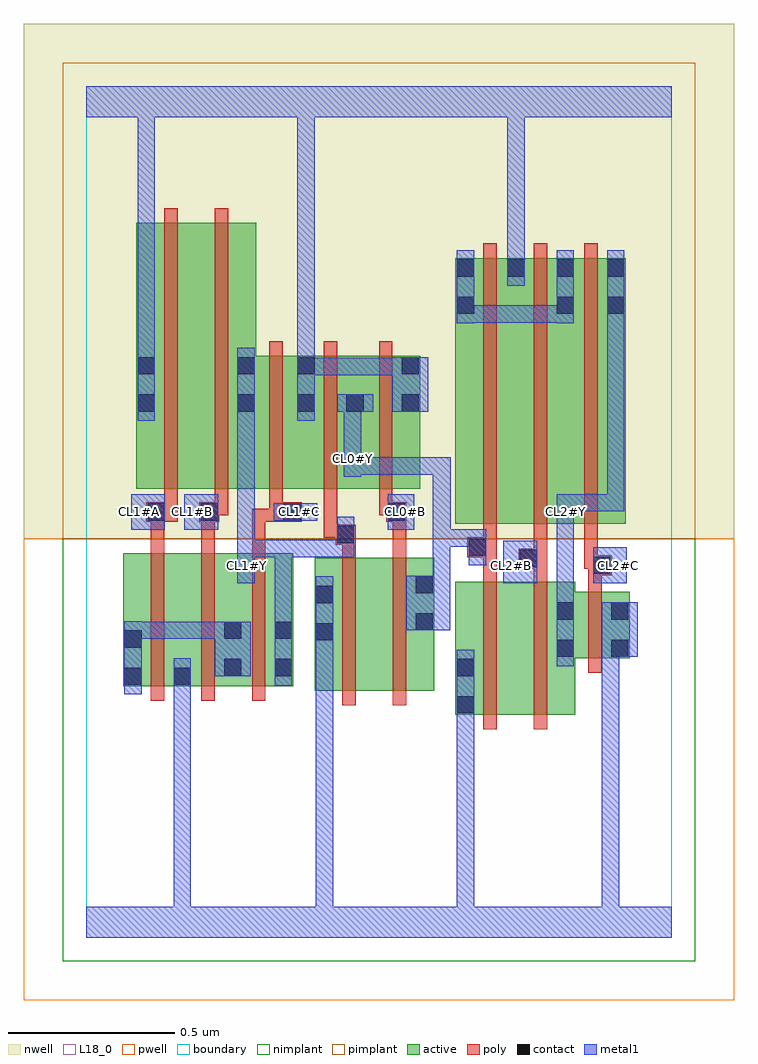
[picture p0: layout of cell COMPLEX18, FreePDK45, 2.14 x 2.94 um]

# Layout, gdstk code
import gdstk
lib = gdstk.Library(unit=1e-6, precision=1e-09)
def R(c, l, rs):  # rectangles x0, y0, x1, y1
    for r in rs: c.add(gdstk.rectangle(r[:2], r[2:], *l))
def A(c, l, x, y, w, h, nx, ny, dx, dy):  # array of equal rectangles
    R(c, l, [(x+i*dx, y+j*dy, x+i*dx+w, y+j*dy+h) for i in range(nx) for j in range(ny)])
active = (1, 0)
pwell = (2, 0)
nwell = (3, 0)
nimplant = (4, 0)
pimplant = (5, 0)
poly = (9, 0)
contact = (10, 0)
metal1 = (11, 0)
L18_0 = (18, 0)
boundary = (235, 0)

complex18 = lib.new_cell('COMPLEX18')
A(complex18, active, 0.258, 0.756, 0.06, 0.4, 3, 1, 0.152, 0)
R(complex18, active, [(1.11,0.67,1.29,1.07), (1.11,0.67,1.17,1.07), (1.29,0.67,1.47,1.07), (0.686,0.742,0.866,1.142), (0.866,0.742,1.046,1.142), (0.11,0.756,0.17,1.156), (0.11,0.756,0.318,1.156), (0.258,0.756,0.47,1.156), (0.41,0.756,0.622,1.156), (0.686,0.756,0.746,1.142), (0.986,0.756,1.046,1.142), (1.41,0.84,1.634,1.04), (1.41,0.84,1.47,1.012), (1.574,0.84,1.634,1.04), (1.11,1.244,1.17,2.044), (1.11,1.244,1.322,2.044), (1.262,1.244,1.47,2.044), (1.41,1.244,1.622,2.044), (1.562,1.244,1.622,2.044), (0.15,1.35,0.33,2.15), (0.15,1.35,0.21,2.044), (0.33,1.35,0.51,2.15), (0.45,1.35,0.51,2.15), (0.45,1.35,0.69,1.75), (0.63,1.35,0.69,1.75), (0.63,1.35,0.838,1.75), (0.778,1.35,1.004,1.75), (0.778,1.35,0.838,1.644), (0.944,1.35,1.004,1.75), (1.262,1.686,1.322,2.044), (1.41,1.686,1.47,2.044)])
R(complex18, pwell, [(-0.188,-0.188,1.948,1.2)])
R(complex18, nwell, [(-0.188,1.2,1.948,2.748)])
R(complex18, nimplant, [(-0.072,-0.072,1.832,1.2)])
R(complex18, pimplant, [(-0.072,1.2,1.832,2.632)])
A(complex18, poly, 0.194, 0.712, 0.04, 0.488, 3, 1, 0.152, 0)
A(complex18, poly, 0.194, 1.16, 0.04, 0.13, 3, 1, 0.152, 0)
A(complex18, poly, 1.194, 1.2, 0.04, 0.888, 3, 1, 0.152, 0)
R(complex18, poly, [(1.194,0.626,1.234,1.114), (1.346,0.626,1.386,1.114), (0.77,0.698,0.81,1.186), (0.922,0.698,0.962,1.186), (1.51,0.796,1.55,1.084), (1.51,1.044,1.55,1.13), (1.194,1.074,1.234,1.184), (1.346,1.074,1.386,1.15), (1.51,1.09,1.58,1.15), (1.3,1.11,1.386,1.17), (1.498,1.11,1.538,1.24), (1.498,1.11,1.55,1.15), (1.51,1.11,1.55,1.15), (1.346,1.13,1.386,1.17), (1.346,1.13,1.386,1.17), (1.346,1.13,1.386,1.24), (1.146,1.144,1.234,1.204), (1.194,1.144,1.234,1.184), (1.194,1.144,1.234,1.184), (0.77,1.146,0.81,1.222), (0.922,1.146,0.962,1.29), (1.194,1.164,1.234,1.24), (0.75,1.182,0.81,1.242), (0.714,1.202,0.754,1.346), (0.714,1.202,0.79,1.242), (0.75,1.202,0.79,1.242), (0.18,1.25,0.274,1.31), (0.194,1.25,0.234,1.29), (0.194,1.25,0.234,1.29), (0.34,1.25,0.4,1.31), (0.498,1.25,0.59,1.29), (0.55,1.25,0.59,1.29), (0.55,1.25,0.648,1.31), (0.902,1.25,0.962,1.31), (0.234,1.27,0.274,1.346), (0.36,1.27,0.4,1.31), (0.36,1.27,0.426,1.31), (0.386,1.27,0.426,1.346), (0.55,1.27,0.59,1.346), (0.88,1.27,0.92,1.346), (0.88,1.27,0.942,1.31), (0.902,1.27,0.942,1.31), (0.234,1.306,0.274,2.194), (0.386,1.306,0.426,2.194), (0.55,1.306,0.59,1.794), (0.714,1.306,0.754,1.794), (0.88,1.306,0.92,1.794)])
R(complex18, contact, [(1.114,0.674,1.166,0.726), (0.114,0.76,0.166,0.812), (0.262,0.76,0.314,0.812), (0.414,0.786,0.466,0.838), (0.566,0.786,0.618,0.838), (1.114,0.786,1.166,0.838), (1.414,0.844,1.466,0.896), (1.578,0.844,1.63,0.896), (0.114,0.872,0.166,0.924), (0.69,0.894,0.742,0.946), (0.414,0.898,0.466,0.95), (0.566,0.898,0.618,0.95), (0.99,0.924,1.042,0.976), (1.414,0.956,1.466,1.008), (1.578,0.956,1.63,1.008), (0.69,1.006,0.742,1.058), (0.99,1.036,1.042,1.088), (1.524,1.094,1.576,1.146), (1.304,1.114,1.356,1.166), (1.15,1.148,1.202,1.2), (0.754,1.186,0.806,1.238), (0.184,1.254,0.236,1.306), (0.344,1.254,0.396,1.306), (0.592,1.254,0.644,1.306), (0.906,1.254,0.958,1.306), (0.154,1.582,0.206,1.634), (0.454,1.582,0.506,1.634), (0.634,1.582,0.686,1.634), (0.782,1.582,0.834,1.634), (0.948,1.582,1,1.634), (0.154,1.694,0.206,1.746), (0.454,1.694,0.506,1.746), (0.634,1.694,0.686,1.746), (0.948,1.694,1,1.746), (1.114,1.876,1.166,1.928), (1.414,1.876,1.466,1.928), (1.566,1.876,1.618,1.928), (1.114,1.988,1.166,2.04), (1.266,1.988,1.318,2.04), (1.414,1.988,1.466,2.04), (1.566,1.988,1.618,2.04)])
R(complex18, metal1, [(0,0,1.76,0.092), (0.262,0.04,0.314,0.092), (0.262,0.04,0.314,0.092), (0.262,0.04,0.314,0.092), (0.262,0.04,0.314,0.092), (0.262,0.04,0.314,0.092), (0.262,0.04,0.314,0.092), (0.262,0.04,0.314,0.092), (0.262,0.04,0.314,0.092), (0.262,0.04,0.314,0.092), (0.262,0.04,0.314,0.092), (0.262,0.04,0.314,0.092), (0.262,0.04,0.314,0.092), (0.262,0.04,0.314,0.784), (0.69,0.04,0.742,0.092), (0.69,0.04,0.742,0.092), (0.69,0.04,0.742,0.092), (0.69,0.04,0.742,0.092), (0.69,0.04,0.742,0.092), (0.69,0.04,0.742,0.092), (0.69,0.04,0.742,0.092), (0.69,0.04,0.742,0.092), (0.69,0.04,0.742,0.092), (0.69,0.04,0.742,0.092), (0.69,0.04,0.742,0.918), (1.114,0.04,1.166,0.092), (1.114,0.04,1.166,0.092), (1.114,0.04,1.166,0.092), (1.114,0.04,1.166,0.092), (1.114,0.04,1.166,0.092), (1.114,0.04,1.166,0.092), (1.114,0.04,1.166,0.092), (1.114,0.04,1.166,0.092), (1.114,0.04,1.166,0.092), (1.114,0.04,1.166,0.092), (1.114,0.04,1.166,0.698), (1.55,0.04,1.602,0.092), (1.55,0.04,1.602,0.092), (1.55,0.04,1.602,0.092), (1.55,0.04,1.602,0.092), (1.55,0.04,1.602,0.092), (1.55,0.04,1.602,0.092), (1.55,0.04,1.602,0.092), (1.55,0.04,1.602,0.092), (1.55,0.04,1.602,0.092), (1.55,0.04,1.602,0.092), (1.55,0.04,1.602,0.092), (1.55,0.04,1.602,0.092), (1.55,0.04,1.602,0.092), (1.55,0.04,1.602,0.092), (1.55,0.04,1.602,0.896), (1.114,0.646,1.166,0.866), (1.114,0.646,1.166,0.698), (1.114,0.646,1.166,0.698), (0.114,0.732,0.166,0.952), (0.262,0.732,0.314,0.84), (0.566,0.758,0.618,0.978), (0.386,0.786,0.494,0.95), (1.414,0.816,1.466,1.036), (1.55,0.844,1.602,0.896), (1.55,0.844,1.602,0.896), (1.55,0.844,1.658,1.008), (0.69,0.866,0.742,1.086), (0.69,0.866,0.742,0.918), (0.69,0.866,0.742,0.918), (0.114,0.898,0.166,0.95), (0.114,0.898,0.166,0.95), (0.114,0.898,0.328,0.95), (0.276,0.898,0.328,0.95), (0.276,0.898,0.328,0.95), (0.276,0.898,0.328,0.95), (0.276,0.898,0.438,0.95), (0.962,0.924,1.094,1.088), (0.566,0.926,0.618,1.196), (1.414,0.984,1.466,1.278), (1.042,1.036,1.094,1.228), (0.454,1.066,0.506,1.196), (1.254,1.066,1.356,1.194), (1.524,1.066,1.626,1.174), (1.15,1.12,1.202,1.228), (0.454,1.144,0.506,1.196), (0.454,1.144,0.506,1.196), (0.454,1.144,0.618,1.196), (0.454,1.144,0.506,1.606), (0.566,1.144,0.618,1.196), (0.566,1.144,0.618,1.196), (0.566,1.144,0.618,1.196), (0.566,1.144,0.806,1.196), (0.754,1.144,0.806,1.266), (1.042,1.176,1.094,1.228), (1.042,1.176,1.094,1.228), (1.042,1.176,1.096,1.444), (1.044,1.176,1.096,1.228), (1.044,1.176,1.096,1.228), (1.044,1.176,1.202,1.228), (0.134,1.226,0.236,1.334), (0.294,1.226,0.396,1.334), (0.906,1.226,0.986,1.334), (1.414,1.226,1.466,1.334), (0.564,1.254,0.694,1.306), (1.414,1.282,1.618,1.334), (1.414,1.282,1.466,1.334), (1.414,1.282,1.466,1.334), (1.414,1.282,1.466,1.334), (1.414,1.282,1.466,1.334), (1.566,1.282,1.618,1.9), (1.566,1.282,1.618,1.334), (0.774,1.386,0.826,1.494), (0.774,1.392,0.986,1.444), (0.934,1.392,0.986,1.444), (0.934,1.392,1.094,1.444), (0.774,1.442,0.826,1.634), (0.154,1.554,0.206,1.774), (0.454,1.554,0.506,1.774), (0.454,1.554,0.506,1.606), (0.454,1.554,0.506,1.606), (0.634,1.554,0.686,1.774), (0.754,1.582,0.862,1.634), (0.92,1.582,1.028,1.746), (0.634,1.692,0.848,1.744), (0.796,1.692,0.848,1.744), (0.796,1.692,0.848,1.744), (0.796,1.692,0.848,1.744), (0.796,1.692,0.972,1.744), (0.92,1.692,0.972,1.744), (0.92,1.692,0.972,1.744), (0.154,1.722,0.206,1.774), (0.154,1.722,0.206,1.774), (0.154,1.722,0.206,1.774), (0.154,1.722,0.206,1.774), (0.154,1.722,0.206,1.774), (0.154,1.722,0.206,1.774), (0.154,1.722,0.206,2.52), (0.634,1.722,0.686,1.774), (0.634,1.722,0.686,1.774), (0.634,1.722,0.686,1.774), (0.634,1.722,0.686,1.774), (0.634,1.722,0.686,1.774), (0.634,1.722,0.686,1.774), (0.634,1.722,0.686,1.774), (0.634,1.722,0.686,1.774), (0.634,1.722,0.686,1.774), (0.634,1.722,0.686,1.774), (0.634,1.722,0.686,2.52), (1.114,1.848,1.166,2.068), (1.414,1.848,1.466,2.068), (1.566,1.848,1.618,2.068), (1.114,1.85,1.202,1.902), (1.15,1.85,1.202,1.902), (1.15,1.85,1.356,1.902), (1.304,1.85,1.356,1.902), (1.304,1.85,1.356,1.902), (1.304,1.85,1.356,1.902), (1.304,1.85,1.466,1.902), (1.266,1.96,1.318,2.068), (1.266,2.016,1.318,2.068), (1.266,2.016,1.318,2.068), (1.266,2.016,1.318,2.52), (0,2.468,1.76,2.56), (0.154,2.468,0.206,2.52), (0.154,2.468,0.206,2.52), (0.634,2.468,0.686,2.52), (0.634,2.468,0.686,2.52), (0.634,2.468,0.686,2.52), (0.634,2.468,0.686,2.52), (0.634,2.468,0.686,2.52), (0.634,2.468,0.686,2.52), (1.266,2.468,1.318,2.52), (1.266,2.468,1.318,2.52), (1.266,2.468,1.318,2.52), (1.266,2.468,1.318,2.52), (1.266,2.468,1.318,2.52), (1.266,2.468,1.318,2.52)])
A(complex18, L18_0, 0.294, 1.254, 0.052, 0.052, 3, 1, 0.32, 0)
R(complex18, L18_0, [(0,0,1.76,0.092), (0.262,0.04,0.314,0.092), (0.262,0.04,0.314,0.092), (0.262,0.04,0.314,0.092), (0.262,0.04,0.314,0.092), (0.262,0.04,0.314,0.092), (0.262,0.04,0.314,0.092), (0.262,0.04,0.314,0.092), (0.262,0.04,0.314,0.092), (0.262,0.04,0.314,0.092), (0.262,0.04,0.314,0.092), (0.262,0.04,0.314,0.092), (0.262,0.04,0.314,0.092), (0.262,0.04,0.314,0.784), (0.69,0.04,0.742,0.092), (0.69,0.04,0.742,0.092), (0.69,0.04,0.742,0.092), (0.69,0.04,0.742,0.092), (0.69,0.04,0.742,0.092), (0.69,0.04,0.742,0.092), (0.69,0.04,0.742,0.092), (0.69,0.04,0.742,0.092), (0.69,0.04,0.742,0.092), (0.69,0.04,0.742,0.092), (0.69,0.04,0.742,0.918), (1.114,0.04,1.166,0.092), (1.114,0.04,1.166,0.092), (1.114,0.04,1.166,0.092), (1.114,0.04,1.166,0.092), (1.114,0.04,1.166,0.092), (1.114,0.04,1.166,0.092), (1.114,0.04,1.166,0.092), (1.114,0.04,1.166,0.092), (1.114,0.04,1.166,0.092), (1.114,0.04,1.166,0.092), (1.114,0.04,1.166,0.698), (1.55,0.04,1.602,0.092), (1.55,0.04,1.602,0.092), (1.55,0.04,1.602,0.092), (1.55,0.04,1.602,0.092), (1.55,0.04,1.602,0.092), (1.55,0.04,1.602,0.092), (1.55,0.04,1.602,0.092), (1.55,0.04,1.602,0.092), (1.55,0.04,1.602,0.092), (1.55,0.04,1.602,0.092), (1.55,0.04,1.602,0.092), (1.55,0.04,1.602,0.092), (1.55,0.04,1.602,0.092), (1.55,0.04,1.602,0.092), (1.55,0.04,1.602,0.896), (1.114,0.646,1.166,0.866), (1.114,0.646,1.166,0.698), (1.114,0.646,1.166,0.698), (0.262,0.732,0.314,0.84), (0.566,0.758,0.618,0.978), (1.414,0.816,1.466,1.036), (1.55,0.844,1.602,0.896), (1.55,0.844,1.602,0.896), (1.55,0.844,1.658,1.008), (0.69,0.866,0.742,1.086), (0.69,0.866,0.742,0.918), (0.69,0.866,0.742,0.918), (0.962,0.924,1.094,1.088), (0.566,0.926,0.618,1.196), (1.414,0.984,1.466,1.278), (1.042,1.036,1.094,1.228), (0.454,1.066,0.506,1.196), (1.254,1.066,1.356,1.194), (1.524,1.066,1.626,1.174), (0.454,1.094,0.506,1.146), (1.254,1.094,1.306,1.146), (1.574,1.094,1.626,1.146), (1.15,1.12,1.202,1.228), (0.454,1.144,0.506,1.196), (0.454,1.144,0.506,1.196), (0.454,1.144,0.506,1.606), (0.454,1.144,0.618,1.196), (0.566,1.144,0.618,1.196), (0.566,1.144,0.618,1.196), (0.566,1.144,0.618,1.196), (0.566,1.144,0.806,1.196), (0.754,1.144,0.806,1.266), (1.042,1.176,1.094,1.228), (1.042,1.176,1.094,1.228), (1.042,1.176,1.096,1.444), (1.044,1.176,1.096,1.228), (1.044,1.176,1.096,1.228), (1.044,1.176,1.202,1.228), (0.134,1.226,0.236,1.334), (0.294,1.226,0.396,1.334), (0.906,1.226,0.986,1.334), (1.414,1.226,1.466,1.334), (0.134,1.254,0.186,1.306), (0.564,1.254,0.694,1.306), (1.414,1.254,1.466,1.306), (1.414,1.282,1.466,1.334), (1.414,1.282,1.466,1.334), (1.414,1.282,1.466,1.334), (1.414,1.282,1.466,1.334), (1.414,1.282,1.618,1.334), (1.566,1.282,1.618,1.334), (1.566,1.282,1.618,1.9), (0.774,1.386,0.826,1.494), (0.774,1.392,0.986,1.444), (0.934,1.392,0.986,1.444), (0.934,1.392,1.094,1.444), (0.774,1.414,0.826,1.466), (0.774,1.442,0.826,1.634), (0.154,1.554,0.206,1.774), (0.454,1.554,0.506,1.774), (0.454,1.554,0.506,1.606), (0.454,1.554,0.506,1.606), (0.634,1.554,0.686,1.774), (0.754,1.582,0.862,1.634), (0.92,1.582,1.028,1.746), (0.634,1.692,0.848,1.744), (0.796,1.692,0.848,1.744), (0.796,1.692,0.848,1.744), (0.796,1.692,0.848,1.744), (0.796,1.692,0.972,1.744), (0.92,1.692,0.972,1.744), (0.92,1.692,0.972,1.744), (0.154,1.722,0.206,1.774), (0.154,1.722,0.206,1.774), (0.154,1.722,0.206,1.774), (0.154,1.722,0.206,1.774), (0.154,1.722,0.206,1.774), (0.154,1.722,0.206,1.774), (0.154,1.722,0.206,2.52), (0.634,1.722,0.686,1.774), (0.634,1.722,0.686,1.774), (0.634,1.722,0.686,1.774), (0.634,1.722,0.686,1.774), (0.634,1.722,0.686,1.774), (0.634,1.722,0.686,1.774), (0.634,1.722,0.686,1.774), (0.634,1.722,0.686,1.774), (0.634,1.722,0.686,1.774), (0.634,1.722,0.686,1.774), (0.634,1.722,0.686,2.52), (1.566,1.848,1.618,2.068), (1.266,1.96,1.318,2.068), (1.266,2.016,1.318,2.068), (1.266,2.016,1.318,2.068), (1.266,2.016,1.318,2.52), (0,2.468,1.76,2.56), (0.154,2.468,0.206,2.52), (0.154,2.468,0.206,2.52), (0.634,2.468,0.686,2.52), (0.634,2.468,0.686,2.52), (0.634,2.468,0.686,2.52), (0.634,2.468,0.686,2.52), (0.634,2.468,0.686,2.52), (0.634,2.468,0.686,2.52), (1.266,2.468,1.318,2.52), (1.266,2.468,1.318,2.52), (1.266,2.468,1.318,2.52), (1.266,2.468,1.318,2.52), (1.266,2.468,1.318,2.52), (1.266,2.468,1.318,2.52)])
R(complex18, boundary, [(0,0,1.76,2.56)])
complex18.add(gdstk.Label('CL0#B', (0.96,1.28), layer=11, texttype=0))
complex18.add(gdstk.Label('CL0#Y', (0.8,1.44), layer=11, texttype=0))
complex18.add(gdstk.Label('CL1#A', (0.16,1.28), layer=11, texttype=0))
complex18.add(gdstk.Label('CL1#B', (0.32,1.28), layer=11, texttype=0))
complex18.add(gdstk.Label('CL1#C', (0.64,1.28), layer=11, texttype=0))
complex18.add(gdstk.Label('CL1#Y', (0.48,1.12), layer=11, texttype=0))
complex18.add(gdstk.Label('CL2#B', (1.28,1.12), layer=11, texttype=0))
complex18.add(gdstk.Label('CL2#C', (1.6,1.12), layer=11, texttype=0))
complex18.add(gdstk.Label('CL2#Y', (1.44,1.28), layer=11, texttype=0))

lib.write_gds('COMPLEX18.gds')
